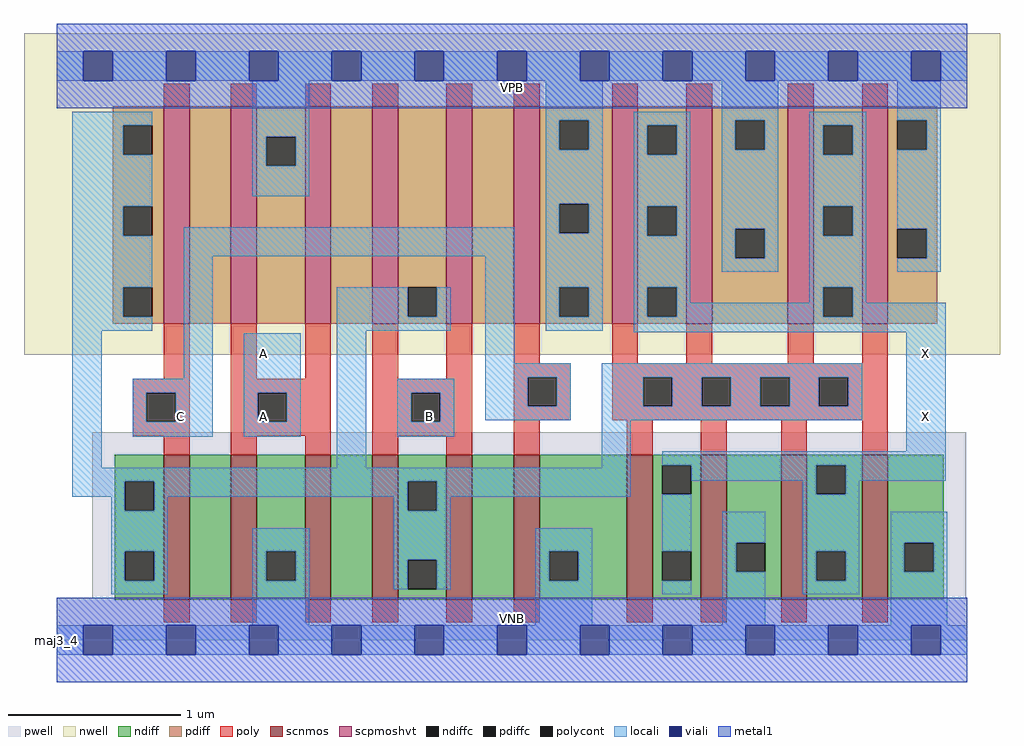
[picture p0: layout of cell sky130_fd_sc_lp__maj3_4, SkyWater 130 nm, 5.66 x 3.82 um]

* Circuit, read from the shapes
.subckt sky130_fd_sc_lp__maj3_4 A B C VGND VNB VPB VPWR X
XM1 n1 C n2 VNB sky130_fd_pr__nfet_01v8 w=0.84 l=0.15
XM2 VGND A n1 VNB sky130_fd_pr__nfet_01v8 w=0.84 l=0.15
XM3 n3 A VGND VNB sky130_fd_pr__nfet_01v8 w=0.84 l=0.15
XM4 n2 B n3 VNB sky130_fd_pr__nfet_01v8 w=0.84 l=0.15
XM5 n4 B n2 VNB sky130_fd_pr__nfet_01v8 w=0.84 l=0.15
XM6 VGND C n4 VNB sky130_fd_pr__nfet_01v8 w=0.84 l=0.15
XM7 X n2 VGND VNB sky130_fd_pr__nfet_01v8 w=0.84 l=0.15 m=4
XM8 n5 C n2 VPB sky130_fd_pr__pfet_01v8_hvt w=1.26 l=0.15
XM9 VPWR A n5 VPB sky130_fd_pr__pfet_01v8_hvt w=1.26 l=0.15
XM10 n6 A VPWR VPB sky130_fd_pr__pfet_01v8_hvt w=1.26 l=0.15
XM11 n2 B n6 VPB sky130_fd_pr__pfet_01v8_hvt w=1.26 l=0.15
XM12 n7 B n2 VPB sky130_fd_pr__pfet_01v8_hvt w=1.26 l=0.15
XM13 VPWR C n7 VPB sky130_fd_pr__pfet_01v8_hvt w=1.26 l=0.15
XM14 X n2 VPWR VPB sky130_fd_pr__pfet_01v8_hvt w=1.26 l=0.15 m=4
.ends

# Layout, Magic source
magic
tech sky130A
magscale 1 2
<< nwell >>
rect -38 331 1094 704
<< pwell >>
rect 41 49 1055 241
rect 0 0 1056 49
<< scnmos >>
rect 124 47 154 215
rect 202 47 232 215
rect 288 47 318 215
rect 366 47 396 215
rect 452 47 482 215
rect 530 47 560 215
rect 661 47 691 215
rect 747 47 777 215
rect 840 47 870 215
rect 934 47 964 215
<< scpmoshvt >>
rect 124 367 154 619
rect 202 367 232 619
rect 288 367 318 619
rect 366 367 396 619
rect 452 367 482 619
rect 530 367 560 619
rect 644 367 674 619
rect 730 367 760 619
rect 848 367 878 619
rect 934 367 964 619
<< ndiff >>
rect 67 184 124 215
rect 67 150 79 184
rect 113 150 124 184
rect 67 103 124 150
rect 67 69 79 103
rect 113 69 124 103
rect 67 47 124 69
rect 154 47 202 215
rect 232 103 288 215
rect 232 69 243 103
rect 277 69 288 103
rect 232 47 288 69
rect 318 47 366 215
rect 396 184 452 215
rect 396 150 407 184
rect 441 150 452 184
rect 396 93 452 150
rect 396 59 407 93
rect 441 59 452 93
rect 396 47 452 59
rect 482 47 530 215
rect 560 103 661 215
rect 560 69 571 103
rect 605 69 661 103
rect 560 47 661 69
rect 691 203 747 215
rect 691 169 702 203
rect 736 169 747 203
rect 691 103 747 169
rect 691 69 702 103
rect 736 69 747 103
rect 691 47 747 69
rect 777 113 840 215
rect 777 79 788 113
rect 822 79 840 113
rect 777 47 840 79
rect 870 203 934 215
rect 870 169 881 203
rect 915 169 934 203
rect 870 103 934 169
rect 870 69 881 103
rect 915 69 934 103
rect 870 47 934 69
rect 964 113 1029 215
rect 964 79 983 113
rect 1017 79 1029 113
rect 964 47 1029 79
<< pdiff >>
rect 65 597 124 619
rect 65 563 77 597
rect 111 563 124 597
rect 65 503 124 563
rect 65 469 77 503
rect 111 469 124 503
rect 65 409 124 469
rect 65 375 77 409
rect 111 375 124 409
rect 65 367 124 375
rect 154 367 202 619
rect 232 584 288 619
rect 232 550 243 584
rect 277 550 288 584
rect 232 367 288 550
rect 318 367 366 619
rect 396 409 452 619
rect 396 375 407 409
rect 441 375 452 409
rect 396 367 452 375
rect 482 367 530 619
rect 560 603 644 619
rect 560 569 583 603
rect 617 569 644 603
rect 560 506 644 569
rect 560 472 583 506
rect 617 472 644 506
rect 560 409 644 472
rect 560 375 583 409
rect 617 375 644 409
rect 560 367 644 375
rect 674 597 730 619
rect 674 563 685 597
rect 719 563 730 597
rect 674 503 730 563
rect 674 469 685 503
rect 719 469 730 503
rect 674 409 730 469
rect 674 375 685 409
rect 719 375 730 409
rect 674 367 730 375
rect 760 603 848 619
rect 760 569 787 603
rect 821 569 848 603
rect 760 477 848 569
rect 760 443 787 477
rect 821 443 848 477
rect 760 367 848 443
rect 878 597 934 619
rect 878 563 889 597
rect 923 563 934 597
rect 878 503 934 563
rect 878 469 889 503
rect 923 469 934 503
rect 878 409 934 469
rect 878 375 889 409
rect 923 375 934 409
rect 878 367 934 375
rect 964 603 1021 619
rect 964 569 975 603
rect 1009 569 1021 603
rect 964 477 1021 569
rect 964 443 975 477
rect 1009 443 1021 477
rect 964 367 1021 443
<< ndiffc >>
rect 79 150 113 184
rect 79 69 113 103
rect 243 69 277 103
rect 407 150 441 184
rect 407 59 441 93
rect 571 69 605 103
rect 702 169 736 203
rect 702 69 736 103
rect 788 79 822 113
rect 881 169 915 203
rect 881 69 915 103
rect 983 79 1017 113
<< pdiffc >>
rect 77 563 111 597
rect 77 469 111 503
rect 77 375 111 409
rect 243 550 277 584
rect 407 375 441 409
rect 583 569 617 603
rect 583 472 617 506
rect 583 375 617 409
rect 685 563 719 597
rect 685 469 719 503
rect 685 375 719 409
rect 787 569 821 603
rect 787 443 821 477
rect 889 563 923 597
rect 889 469 923 503
rect 889 375 923 409
rect 975 569 1009 603
rect 975 443 1009 477
<< poly >>
rect 124 619 154 645
rect 202 619 232 645
rect 288 619 318 645
rect 366 619 396 645
rect 452 619 482 645
rect 530 619 560 645
rect 644 619 674 645
rect 730 619 760 645
rect 848 619 878 645
rect 934 619 964 645
rect 124 303 154 367
rect 88 287 154 303
rect 88 253 104 287
rect 138 253 154 287
rect 88 237 154 253
rect 124 215 154 237
rect 202 303 232 367
rect 288 303 318 367
rect 202 287 318 303
rect 202 253 233 287
rect 267 253 318 287
rect 202 237 318 253
rect 202 215 232 237
rect 288 215 318 237
rect 366 303 396 367
rect 452 303 482 367
rect 366 287 482 303
rect 366 253 411 287
rect 445 253 482 287
rect 366 237 482 253
rect 366 215 396 237
rect 452 215 482 237
rect 530 321 560 367
rect 644 321 674 367
rect 730 321 760 367
rect 848 321 878 367
rect 934 321 964 367
rect 530 305 596 321
rect 530 271 546 305
rect 580 271 596 305
rect 530 255 596 271
rect 644 305 964 321
rect 644 271 680 305
rect 714 271 748 305
rect 782 271 816 305
rect 850 271 884 305
rect 918 271 964 305
rect 644 255 964 271
rect 530 215 560 255
rect 661 215 691 255
rect 747 215 777 255
rect 840 215 870 255
rect 934 215 964 255
rect 124 21 154 47
rect 202 21 232 47
rect 288 21 318 47
rect 366 21 396 47
rect 452 21 482 47
rect 530 21 560 47
rect 661 21 691 47
rect 747 21 777 47
rect 840 21 870 47
rect 934 21 964 47
<< polycont >>
rect 104 253 138 287
rect 233 253 267 287
rect 411 253 445 287
rect 546 271 580 305
rect 680 271 714 305
rect 748 271 782 305
rect 816 271 850 305
rect 884 271 918 305
<< locali >>
rect 0 649 31 683
rect 65 649 127 683
rect 161 649 223 683
rect 257 649 319 683
rect 353 649 415 683
rect 449 649 511 683
rect 545 649 607 683
rect 641 649 703 683
rect 737 649 799 683
rect 833 649 895 683
rect 929 649 991 683
rect 1025 649 1056 683
rect 18 597 111 613
rect 18 563 77 597
rect 18 503 111 563
rect 227 584 293 649
rect 227 550 243 584
rect 277 550 293 584
rect 227 515 293 550
rect 567 603 633 649
rect 567 569 583 603
rect 617 569 633 603
rect 18 469 77 503
rect 567 506 633 569
rect 18 409 111 469
rect 18 375 77 409
rect 18 359 111 375
rect 147 445 531 479
rect 18 200 52 359
rect 147 303 181 445
rect 325 375 407 409
rect 441 375 457 409
rect 325 359 457 375
rect 88 287 181 303
rect 88 253 104 287
rect 138 253 181 287
rect 88 236 181 253
rect 217 287 283 356
rect 217 253 233 287
rect 267 253 283 287
rect 217 236 283 253
rect 325 200 359 359
rect 497 321 531 445
rect 567 472 583 506
rect 617 472 633 506
rect 567 409 633 472
rect 567 375 583 409
rect 617 375 633 409
rect 567 359 633 375
rect 669 597 735 613
rect 669 563 685 597
rect 719 563 735 597
rect 669 503 735 563
rect 669 469 685 503
rect 719 469 735 503
rect 669 409 735 469
rect 771 603 837 649
rect 771 569 787 603
rect 821 569 837 603
rect 771 477 837 569
rect 771 443 787 477
rect 821 443 837 477
rect 771 427 837 443
rect 873 597 939 613
rect 873 563 889 597
rect 923 563 939 597
rect 873 503 939 563
rect 873 469 889 503
rect 923 469 939 503
rect 669 375 685 409
rect 719 391 735 409
rect 873 409 939 469
rect 975 603 1025 649
rect 1009 569 1025 603
rect 975 477 1025 569
rect 1009 443 1025 477
rect 975 427 1025 443
rect 873 391 889 409
rect 719 375 889 391
rect 923 391 939 409
rect 923 375 1031 391
rect 669 357 1031 375
rect 497 305 596 321
rect 395 287 461 303
rect 395 253 411 287
rect 445 253 461 287
rect 497 271 546 305
rect 580 271 596 305
rect 497 255 596 271
rect 632 305 934 321
rect 632 271 680 305
rect 714 271 748 305
rect 782 271 816 305
rect 850 271 884 305
rect 918 271 934 305
rect 632 255 934 271
rect 395 236 461 253
rect 632 200 666 255
rect 985 219 1031 357
rect 18 184 666 200
rect 18 166 79 184
rect 63 150 79 166
rect 113 166 407 184
rect 113 150 129 166
rect 63 103 129 150
rect 391 150 407 166
rect 441 166 666 184
rect 702 203 1031 219
rect 736 185 881 203
rect 441 150 457 166
rect 63 69 79 103
rect 113 69 129 103
rect 63 53 129 69
rect 227 103 293 130
rect 227 69 243 103
rect 277 69 293 103
rect 227 17 293 69
rect 391 93 457 150
rect 391 59 407 93
rect 441 59 457 93
rect 555 103 621 130
rect 555 69 571 103
rect 605 69 621 103
rect 555 17 621 69
rect 702 103 736 169
rect 865 169 881 185
rect 915 185 1031 203
rect 915 169 931 185
rect 702 53 736 69
rect 772 113 822 149
rect 772 79 788 113
rect 772 17 822 79
rect 865 103 931 169
rect 865 69 881 103
rect 915 69 931 103
rect 865 53 931 69
rect 967 113 1033 149
rect 967 79 983 113
rect 1017 79 1033 113
rect 967 17 1033 79
rect 0 -17 31 17
rect 65 -17 127 17
rect 161 -17 223 17
rect 257 -17 319 17
rect 353 -17 415 17
rect 449 -17 511 17
rect 545 -17 607 17
rect 641 -17 703 17
rect 737 -17 799 17
rect 833 -17 895 17
rect 929 -17 991 17
rect 1025 -17 1056 17
<< viali >>
rect 31 649 65 683
rect 127 649 161 683
rect 223 649 257 683
rect 319 649 353 683
rect 415 649 449 683
rect 511 649 545 683
rect 607 649 641 683
rect 703 649 737 683
rect 799 649 833 683
rect 895 649 929 683
rect 991 649 1025 683
rect 31 -17 65 17
rect 127 -17 161 17
rect 223 -17 257 17
rect 319 -17 353 17
rect 415 -17 449 17
rect 511 -17 545 17
rect 607 -17 641 17
rect 703 -17 737 17
rect 799 -17 833 17
rect 895 -17 929 17
rect 991 -17 1025 17
<< metal1 >>
rect 0 683 1056 715
rect 0 649 31 683
rect 65 649 127 683
rect 161 649 223 683
rect 257 649 319 683
rect 353 649 415 683
rect 449 649 511 683
rect 545 649 607 683
rect 641 649 703 683
rect 737 649 799 683
rect 833 649 895 683
rect 929 649 991 683
rect 1025 649 1056 683
rect 0 617 1056 649
rect 0 17 1056 49
rect 0 -17 31 17
rect 65 -17 127 17
rect 161 -17 223 17
rect 257 -17 319 17
rect 353 -17 415 17
rect 449 -17 511 17
rect 545 -17 607 17
rect 641 -17 703 17
rect 737 -17 799 17
rect 833 -17 895 17
rect 929 -17 991 17
rect 1025 -17 1056 17
rect 0 -49 1056 -17
<< labels >>
flabel pwell s 0 0 1056 49 0 FreeSans 200 0 0 0 VNB
port 5 nsew ground bidirectional
flabel nwell s 0 617 1056 666 0 FreeSans 200 0 0 0 VPB
port 6 nsew power bidirectional
rlabel comment s 0 0 0 0 4 maj3_4
flabel metal1 s 0 617 1056 666 0 FreeSans 340 0 0 0 VPWR
port 7 nsew power bidirectional
flabel metal1 s 0 0 1056 49 0 FreeSans 340 0 0 0 VGND
port 4 nsew ground bidirectional
flabel locali s 223 242 257 276 0 FreeSans 340 0 0 0 A
port 1 nsew signal input
flabel locali s 223 316 257 350 0 FreeSans 340 0 0 0 A
port 1 nsew signal input
flabel locali s 415 242 449 276 0 FreeSans 340 0 0 0 B
port 2 nsew signal input
flabel locali s 127 242 161 276 0 FreeSans 340 0 0 0 C
port 3 nsew signal input
flabel locali s 991 242 1025 276 0 FreeSans 340 0 0 0 X
port 8 nsew signal output
flabel locali s 991 316 1025 350 0 FreeSans 340 0 0 0 X
port 8 nsew signal output
<< properties >>
string LEFsite unit
string LEFclass CORE
string FIXED_BBOX 0 0 1056 666
string GDS_FILE $PDKPATH/libs.ref/sky130_fd_sc_lp/gds/sky130_fd_sc_lp.gds
string LEFsymmetry X Y R90
string GDS_END 6759390
string GDS_START 6751678
<< end >>
